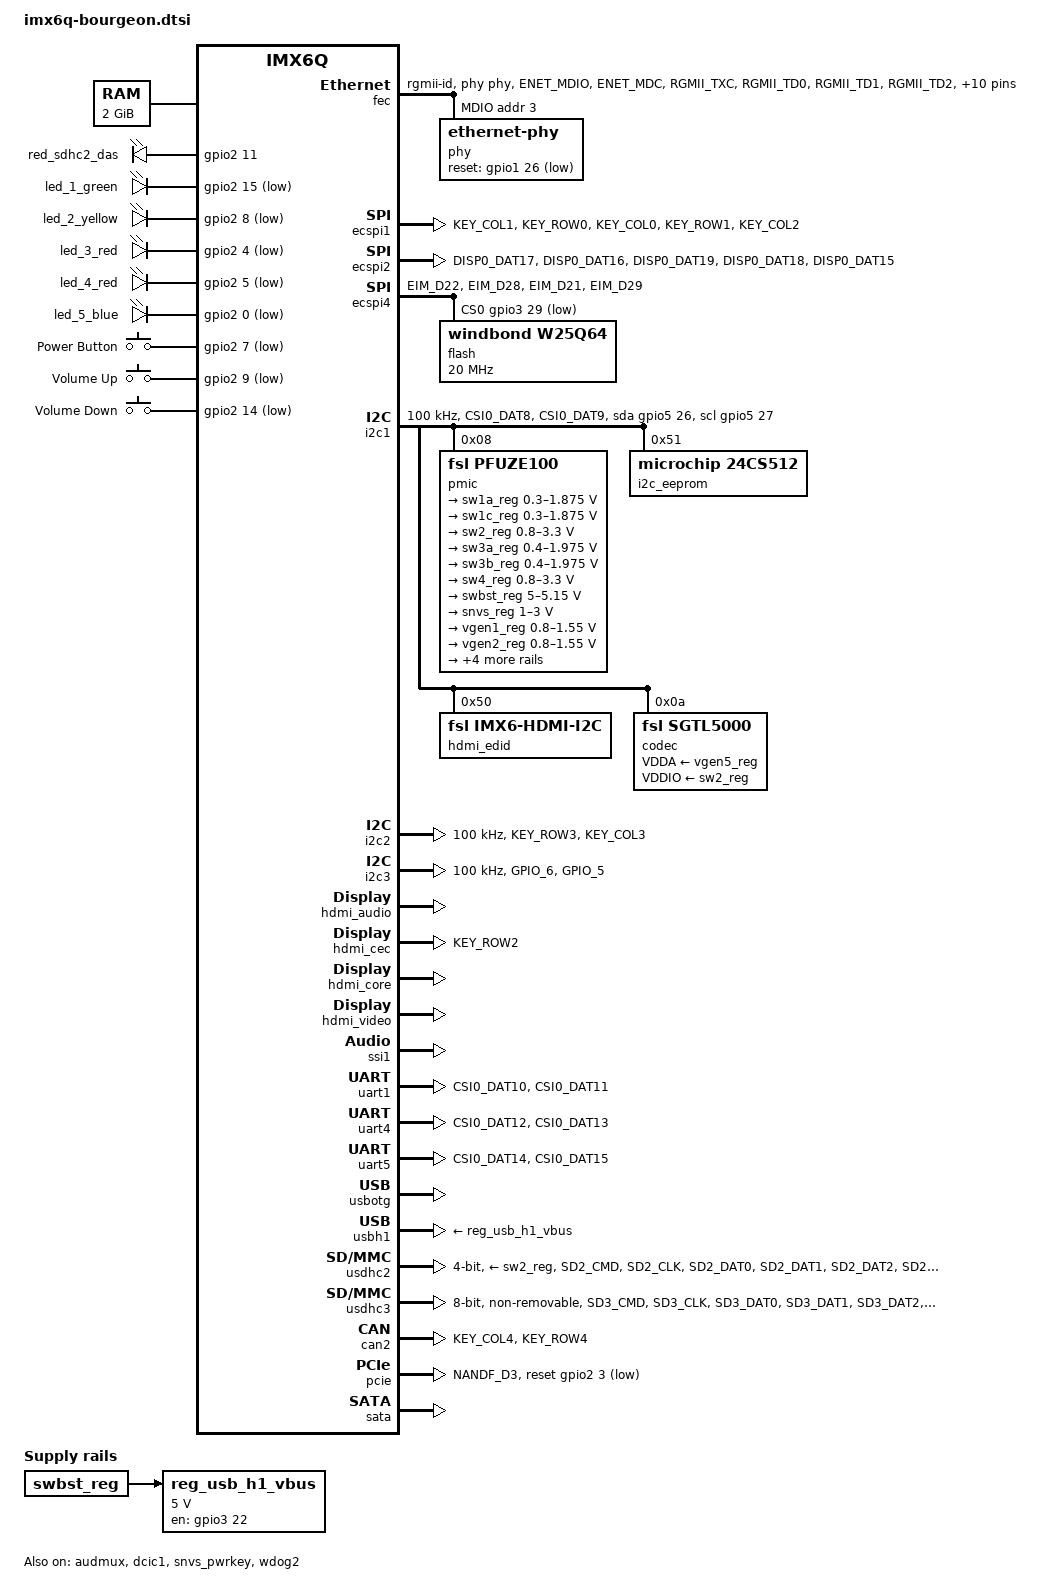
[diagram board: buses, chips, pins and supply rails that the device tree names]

#include <dt-bindings/clock/imx6qdl-clock.h>
#include <dt-bindings/gpio/gpio.h>
#include <dt-bindings/input/input.h>
#include <dt-bindings/net/ti-dp83869.h>
#include <dt-bindings/input/linux-event-codes.h>
#include <dt-bindings/interrupt-controller/irq.h>
#include <dt-bindings/leds/common.h>

/ {
	chosen {
		stdout-path = &uart1;
	};

	memory@10000000 {
		device_type = "memory";
		reg = <0x10000000 0x80000000>;
	};
	
	reg_usb_h1_vbus: regulator-usb-h1-vbus {
		compatible = "regulator-fixed";
		regulator-name = "usb_h1_vbus";
		regulator-min-microvolt = <5000000>;
		regulator-max-microvolt = <5000000>;
		gpio = <&gpio3 22 GPIO_ACTIVE_HIGH>;
		enable-active-high;
		vin-supply = <&swbst_reg>;
	};
	
	leds {
		compatible = "gpio-leds";
		pinctrl-names = "default";
		pinctrl-0 = <&pinctrl_gpio_leds>;

		red_sdhc2_das {
			gpios = <&gpio2 11 GPIO_ACTIVE_HIGH>;//LED DAS ushdc2
			default-state = "off";
		};
		led_1_green {
			gpios = <&gpio2 15 GPIO_ACTIVE_LOW>;//LED green 1
			linux,default-trigger = "heartbeat";
			default-state = "on";
		};
		led_2_yellow {
			gpios = <&gpio2 8 GPIO_ACTIVE_LOW>;//LED yellow 2
			linux,default-trigger = "disk-activity";
			trigger-sources = <&usdhc3>;
			default-state = "off";
		};
		led_3_red {
			gpios = <&gpio2 4 GPIO_ACTIVE_LOW>;//LED red 3
			default-state = "off";
		};
		led_4_red {
			gpios = <&gpio2 5 GPIO_ACTIVE_LOW>;//LED red 4
			default-state = "off";
		};
		led_5_blue {
			gpios = <&gpio2 0 GPIO_ACTIVE_LOW>;//LED bleue 5
			default-state = "off";
		};
	};
	
	gpio-keys {
		compatible = "gpio-keys";
		pinctrl-names = "default";
		pinctrl-0 = <&pinctrl_gpio_keys>;

		power {
			label = "Power Button";
			gpios = <&gpio2 7 GPIO_ACTIVE_LOW>;
			wakeup-source;
			linux,code = <KEY_POWER>;
		};

		volume-up {
			label = "Volume Up";
			gpios = <&gpio2 9 GPIO_ACTIVE_LOW>;
			wakeup-source;
			linux,code = <KEY_VOLUMEUP>;
		};

		volume-down {
			label = "Volume Down";
			gpios = <&gpio2 14 GPIO_ACTIVE_LOW>;
			wakeup-source;
			linux,code = <KEY_VOLUMEDOWN>;
		};
	};

	sound-hdmi {
		compatible = "fsl,imx6qdl-audio-hdmi";
		model = "imx-audio-hdmi";
		hdmi-controller = <&hdmi_audio>;
	};

	sound {
		compatible = "fsl,imx6-bourgeon-sgtl5000",
			     "fsl,imx-audio-sgtl5000";
		model = "imx6-bourgeon-sgtl5000";
		ssi-controller = <&ssi1>;
		audio-codec = <&codec>;
		audio-routing =
			"MIC_IN", "Mic Jack",
			"Mic Jack", "Mic Bias",
			"Headphone Jack", "HP_OUT";
		mux-int-port = <1>;
		mux-ext-port = <4>;
	};
};

&fec {
	pinctrl-names = "default";
	pinctrl-0 = <&pinctrl_enet>;
	phy-mode = "rgmii-id";
	phy-handle = <&phy>;
	fsl,magic-packet;
	status = "okay";

	mdio {
		#address-cells = <1>;
		#size-cells = <0>;

		phy: ethernet-phy@3 {
			reg = <3>;
			qca,clk-out-frequency = <125000000>;
			reset-gpios = <&gpio1 26 GPIO_ACTIVE_LOW>;
			reset-assert-us = <10000>;
		};
	};
};

&audmux {
	pinctrl-names = "default";
	pinctrl-0 = <&pinctrl_audmux>;
	status = "okay";
};

&clks {
	assigned-clocks = <&clks IMX6QDL_CLK_LDB_DI0_SEL>,
			  <&clks IMX6QDL_CLK_LDB_DI1_SEL>;
	assigned-clock-parents = <&clks IMX6QDL_CLK_PLL3_USB_OTG>,
				 <&clks IMX6QDL_CLK_PLL3_USB_OTG>;
};

&dcic1 {
	dcic_id = <0>;
	dcic_mux = "dcic-hdmi";
	status = "okay";
};

&ecspi1 {
	cs-gpios = <&gpio4 9 GPIO_ACTIVE_LOW>, <&gpio4 10 GPIO_ACTIVE_LOW>;
	pinctrl-names = "default";
	pinctrl-0 = <&pinctrl_ecspi1>;
	status = "okay";
};

&ecspi2 {
	cs-gpios = <&gpio5 12 GPIO_ACTIVE_LOW>, <&gpio5 9 GPIO_ACTIVE_LOW>;
	pinctrl-names = "default";
	pinctrl-0 = <&pinctrl_ecspi2>;
	status = "okay";
};

&ecspi4 {
	cs-gpios = <&gpio3 29 GPIO_ACTIVE_LOW>;
	pinctrl-names = "default";
	pinctrl-0 = <&pinctrl_ecspi4>;
	status = "okay";
	
	flash: flash_512Mb@0 {//modifier la taille !!!!!!!!!!!
		#address-cells = <1>;
		#size-cells = <1>;
		compatible = "windbond, w25q64", "jedec,spi-nor";
		spi-max-frequency = <20000000>;
		reg = <0>;
	};
};

&i2c1 {
	clock-frequency = <100000>;
	pinctrl-names = "default", "gpio";
	pinctrl-0 = <&pinctrl_i2c1>;
	pinctrl-1 = <&pinctrl_i2c1_gpio>;
	scl-gpios = <&gpio5 27 GPIO_ACTIVE_HIGH>;
	sda-gpios = <&gpio5 26 GPIO_ACTIVE_HIGH>;
	status = "okay";

	pmic: pfuze100@8 {
		compatible = "fsl,pfuze100";
		reg = <0x08>;

		regulators {
			sw1a_reg: sw1ab {
				regulator-min-microvolt = <300000>;
				regulator-max-microvolt = <1875000>;
				regulator-boot-on;
				regulator-always-on;
				regulator-ramp-delay = <6250>;
			};

			sw1c_reg: sw1c {
				regulator-min-microvolt = <300000>;
				regulator-max-microvolt = <1875000>;
				regulator-boot-on;
				regulator-always-on;
				regulator-ramp-delay = <6250>;
			};

			sw2_reg: sw2 {
				regulator-min-microvolt = <800000>;
				regulator-max-microvolt = <3300000>;
				regulator-boot-on;
				regulator-always-on;
				regulator-ramp-delay = <6250>;
			};

			sw3a_reg: sw3a {
				regulator-min-microvolt = <400000>;
				regulator-max-microvolt = <1975000>;
				regulator-boot-on;
				regulator-always-on;
			};

			sw3b_reg: sw3b {
				regulator-min-microvolt = <400000>;
				regulator-max-microvolt = <1975000>;
				regulator-boot-on;
				regulator-always-on;
			};

			sw4_reg: sw4 {
				regulator-min-microvolt = <800000>;
				regulator-max-microvolt = <3300000>;
				regulator-always-on;
			};
			
			swbst_reg: swbst {
				regulator-min-microvolt = <5000000>;
				regulator-max-microvolt = <5150000>;
			};

			snvs_reg: vsnvs {
				regulator-min-microvolt = <1000000>;
				regulator-max-microvolt = <3000000>;
				regulator-boot-on;
				regulator-always-on;
			};

			vref_reg: vrefddr {
				regulator-boot-on;
				regulator-always-on;
			};

			vgen1_reg: vgen1 {
				regulator-min-microvolt = <800000>;
				regulator-max-microvolt = <1550000>;
			};

			vgen2_reg: vgen2 {
				regulator-min-microvolt = <800000>;
				regulator-max-microvolt = <1550000>;
				regulator-always-on;
			};

			vgen3_reg: vgen3 {
				regulator-min-microvolt = <1800000>;
				regulator-max-microvolt = <3300000>;
				regulator-always-on;
			};

			vgen4_reg: vgen4 {
				regulator-min-microvolt = <1800000>;
				regulator-max-microvolt = <3300000>;
				regulator-always-on;
			};

			vgen5_reg: vgen5 {
				regulator-min-microvolt = <1800000>;
				regulator-max-microvolt = <3300000>;
				regulator-always-on;
			};

			vgen6_reg: vgen6 {
				regulator-min-microvolt = <1800000>;
				regulator-max-microvolt = <3300000>;
				regulator-always-on;
			};
		};
	};

	i2c_eeprom: i2c_eeprom@51 {
		compatible = "microchip, 24cs512";// support de la première partie uniquement
		reg = <0x51>;
		pagesize = <128>;
	};

	hdmi_edid: edid@50 {
		compatible = "fsl,imx6-hdmi-i2c";
		reg = <0x50>;
	};

	codec: sgtl5000@a {
		pinctrl-names = "default";
		pinctrl-0 = <&pinctrl_mclk>;
		compatible = "fsl,sgtl5000";
		reg = <0x0a>;
		clocks = <&clks IMX6QDL_CLK_CKO>;
		VDDA-supply = <&vgen5_reg>;
		VDDIO-supply = <&sw2_reg>;
		lrclk-strength = <3>;
	};
};

&i2c2 {
	clock-frequency = <100000>;
	pinctrl-names = "default";
	pinctrl-0 = <&pinctrl_i2c2>;
	status = "okay";
};

&i2c3 {
	clock-frequency = <100000>;
	pinctrl-names = "default";
	pinctrl-0 = <&pinctrl_i2c3>;
	status = "okay";
};

&iomuxc {
	pinctrl-names = "default";
	pinctrl-0 = <&pinctrl_hog>;
	imx6q-bourgeon {

		pinctrl_hog: hoggrp {
			fsl,pins = <
				MX6QDL_PAD_ENET_RXD1__GPIO1_IO26	0x1b0b0 //reset pin ENET
				MX6QDL_PAD_GPIO_4__GPIO1_IO04 	0x1b0b0 /*CD SHDC2*/
				MX6QDL_PAD_SD3_RST__GPIO7_IO08	0x1b0b0 //RESET pin SDHC3
			>;
		};
		
		pinctrl_ecspi1: ecspi1grp {
			fsl,pins = <
				MX6QDL_PAD_KEY_COL1__ECSPI1_MISO	0x100b1
				MX6QDL_PAD_KEY_ROW0__ECSPI1_MOSI	0x100b1
				MX6QDL_PAD_KEY_COL0__ECSPI1_SCLK	0x100b1
				MX6QDL_PAD_KEY_ROW1__GPIO4_IO09	0x1b0b0//CS 0
				MX6QDL_PAD_KEY_COL2__GPIO4_IO10	0x1b0b0//CS 1
			>;
		};
		
		pinctrl_ecspi2: ecspi2grp {
			fsl,pins = <
				MX6QDL_PAD_DISP0_DAT17__ECSPI2_MISO	0x100b1
				MX6QDL_PAD_DISP0_DAT16__ECSPI2_MOSI	0x100b1
				MX6QDL_PAD_DISP0_DAT19__ECSPI2_SCLK	0x100b1
				MX6QDL_PAD_DISP0_DAT18__GPIO5_IO12		0x1b0b0//CS 0
				MX6QDL_PAD_DISP0_DAT15__GPIO5_IO09		0x1b0b0//CS 1
			>;
		};
		
		pinctrl_ecspi4: ecspi4grp {
			fsl,pins = <
				MX6QDL_PAD_EIM_D22__ECSPI4_MISO	0x100b1
				MX6QDL_PAD_EIM_D28__ECSPI4_MOSI	0x100b1
				MX6QDL_PAD_EIM_D21__ECSPI4_SCLK	0x100b1
				MX6QDL_PAD_EIM_D29__GPIO3_IO29	0x1b0b0//CS 0
			>;
		};
		
		pinctrl_gpio_keys: gpio_keysgrp {
			fsl,pins = <
				MX6QDL_PAD_NANDF_D7__GPIO2_IO07	0x1b0b0
				MX6QDL_PAD_SD4_DAT1__GPIO2_IO09	0x1b0b0
				MX6QDL_PAD_SD4_DAT6__GPIO2_IO14	0x1b0b0
			>;
		};
		
		pinctrl_i2c1: i2c1grp {
			fsl,pins = <
				MX6QDL_PAD_CSI0_DAT8__I2C1_SDA	0x4001b8b1
				MX6QDL_PAD_CSI0_DAT9__I2C1_SCL	0x4001b8b1
			>;
		};

		pinctrl_i2c1_gpio: i2c1_gpio_grp {
			fsl,pins = <
				MX6QDL_PAD_CSI0_DAT8__GPIO5_IO26	0x1b0b0
				MX6QDL_PAD_CSI0_DAT9__GPIO5_IO27	0x1b8b0
			>;
		};

		pinctrl_i2c2: i2c2grp {
			fsl,pins = <
				MX6QDL_PAD_KEY_ROW3__I2C2_SDA 	0x4001b8b1	
				MX6QDL_PAD_KEY_COL3__I2C2_SCL 	0x4001b8b1	
			>;
		};

		pinctrl_i2c3: i2c3grp {
			fsl,pins = <
				MX6QDL_PAD_GPIO_6__I2C3_SDA		0x4001b8b1
				MX6QDL_PAD_GPIO_5__I2C3_SCL		0x4001b8b1
			>;
		};
		
		pinctrl_enet: enetgrp {
			fsl,pins = <
				MX6QDL_PAD_ENET_MDIO__ENET_MDIO		0x1b0b0
				MX6QDL_PAD_ENET_MDC__ENET_MDC		0x1b0b0
				MX6QDL_PAD_RGMII_TXC__RGMII_TXC		0x1b030
				MX6QDL_PAD_RGMII_TD0__RGMII_TD0		0x1b030
				MX6QDL_PAD_RGMII_TD1__RGMII_TD1		0x1b030
				MX6QDL_PAD_RGMII_TD2__RGMII_TD2		0x1b030
				MX6QDL_PAD_RGMII_TD3__RGMII_TD3		0x1b030
				MX6QDL_PAD_RGMII_TX_CTL__RGMII_TX_CTL	0x1b030
				MX6QDL_PAD_ENET_REF_CLK__ENET_TX_CLK	0x1b0b0
				MX6QDL_PAD_RGMII_RXC__RGMII_RXC		0x1b030
				MX6QDL_PAD_RGMII_RD0__RGMII_RD0		0x1b030
				MX6QDL_PAD_RGMII_RD1__RGMII_RD1		0x1b030
				MX6QDL_PAD_RGMII_RD2__RGMII_RD2		0x1b030
				MX6QDL_PAD_RGMII_RD3__RGMII_RD3		0x1b030
				MX6QDL_PAD_RGMII_RX_CTL__RGMII_RX_CTL	0x1b030
				MX6QDL_PAD_GPIO_16__ENET_REF_CLK		0x4001b0a8
				
			>;
		};
		
		pinctrl_flexcan2: flexcan2grp {
			fsl,pins = <
				MX6QDL_PAD_KEY_COL4__FLEXCAN2_TX	0x17059
				MX6QDL_PAD_KEY_ROW4__FLEXCAN2_RX	0x17059
			>;
		};

		pinctrl_uart1: uart1grp {
			fsl,pins = <
				MX6QDL_PAD_CSI0_DAT10__UART1_TX_DATA	0x1b0b1
				MX6QDL_PAD_CSI0_DAT11__UART1_RX_DATA	0x1b0b1
			>;
		};
		
		pinctrl_uart4: uart4grp {
			fsl,pins = <
				MX6QDL_PAD_CSI0_DAT12__UART4_TX_DATA	0x1b0b1
				MX6QDL_PAD_CSI0_DAT13__UART4_RX_DATA	0x1b0b1
			>;
		};

		pinctrl_uart5: uart5grp {
			fsl,pins = <
				MX6QDL_PAD_CSI0_DAT14__UART5_TX_DATA	0x1b0b1
				MX6QDL_PAD_CSI0_DAT15__UART5_RX_DATA	0x1b0b1
			>;
		};
		
		pinctrl_usdhc2: usdhc2grp {
			fsl,pins = <
				MX6QDL_PAD_SD2_CMD__SD2_CMD		0x17059
				MX6QDL_PAD_SD2_CLK__SD2_CLK		0x10059
				MX6QDL_PAD_SD2_DAT0__SD2_DATA0	0x17059
				MX6QDL_PAD_SD2_DAT1__SD2_DATA1	0x17059
				MX6QDL_PAD_SD2_DAT2__SD2_DATA2	0x17059
				MX6QDL_PAD_SD2_DAT3__SD2_DATA3	0x17059
				
			>;
		};
		
		pinctrl_usdhc3: usdhc3grp {
			fsl,pins = <
				MX6QDL_PAD_SD3_CMD__SD3_CMD		0x17059
				MX6QDL_PAD_SD3_CLK__SD3_CLK		0x10059
				MX6QDL_PAD_SD3_DAT0__SD3_DATA0		0x17059
				MX6QDL_PAD_SD3_DAT1__SD3_DATA1		0x17059
				MX6QDL_PAD_SD3_DAT2__SD3_DATA2		0x17059
				MX6QDL_PAD_SD3_DAT3__SD3_DATA3		0x17059
				MX6QDL_PAD_SD3_DAT4__SD3_DATA4		0x17059
				MX6QDL_PAD_SD3_DAT5__SD3_DATA5		0x17059
				MX6QDL_PAD_SD3_DAT6__SD3_DATA6		0x17059
				MX6QDL_PAD_SD3_DAT7__SD3_DATA7		0x17059
			>;
		};

		pinctrl_hdmi_cec: hdmicecgrp {
			fsl,pins = <
				MX6QDL_PAD_KEY_ROW2__HDMI_TX_CEC_LINE 0x108b0
			>;
		};
		
		pinctrl_pcie: pciegrp {
			fsl,pins = <
				MX6QDL_PAD_NANDF_D3__GPIO2_IO03	0x1b0b0 //reset
			>;
		};

		pinctrl_wdog: wdoggrp {
			fsl,pins = <
				MX6QDL_PAD_GPIO_1__WDOG2_B		0x1b0b0
			>;
		};
	};
	
	gpio_leds {
		pinctrl_gpio_leds: gpioledsgrp {
			fsl,pins = <
				MX6QDL_PAD_SD4_DAT3__GPIO2_IO11 0x1b0b0 //LED DAS shdc2
				MX6QDL_PAD_SD4_DAT7__GPIO2_IO15 0x1b0b0 //led green 1 NOTE : mettre en drain ouvert
				MX6QDL_PAD_SD4_DAT0__GPIO2_IO08 0x1b0b0 //led yellow 2
				MX6QDL_PAD_NANDF_D4__GPIO2_IO04 0x1b0b0 //led red 3
				MX6QDL_PAD_NANDF_D5__GPIO2_IO05 0x1b0b0 //led red 4
				MX6QDL_PAD_NANDF_D0__GPIO2_IO00 0x1b0b0 //led bleue 5
			>;
		};
	};

	pinctrl_mclk: mclkgrp {
		fsl,pins = <
		MX6QDL_PAD_GPIO_0__CCM_CLKO1	0x130b0
		>;
	};

	pinctrl_audmux: audmuxgrp {
			fsl,pins = <
				MX6QDL_PAD_DISP0_DAT21__AUD4_TXD		0x110b0
				MX6QDL_PAD_DISP0_DAT22__AUD4_TXFS		0x130b0
				MX6QDL_PAD_DISP0_DAT20__AUD4_TXC		0x130b0
				MX6QDL_PAD_DISP0_DAT23__AUD4_RXD		0x130b0
			>;
	};
};

&reg_arm {
       vin-supply = <&sw1a_reg>;
};

&reg_pu {
       vin-supply = <&sw1c_reg>;
};

&reg_soc {
       vin-supply = <&sw1c_reg>;
};

&reg_vdd1p1 {
	vin-supply = <&vgen6_reg>;
};

&reg_vdd2p5 {
	vin-supply = <&vgen6_reg>;
};

&snvs_poweroff {
	status = "okay";
};

/*
&gpc {
	fsl,ldo-bypass = <1>;
};*/

&hdmi_audio {
	status = "okay";
};

&hdmi_cec {
	pinctrl-names = "default";
	pinctrl-0 = <&pinctrl_hdmi_cec>;
	status = "okay";
};

&hdmi_core {
	ipu_id = <0>;
	disp_id = <0>;
	status = "okay";
};

&hdmi_video {
	fsl,phy_reg_vlev = <0x294>;
	fsl,phy_reg_cksymtx = <0x800d>;
/*	HDMI-supply = <&reg_hdmi>; */
	status = "okay";
};

&snvs_pwrkey {
	status = "okay";
};


&ssi1 {
	status = "okay";
};

&uart1 {
	pinctrl-names = "default";
	pinctrl-0 = <&pinctrl_uart1>;
	status = "okay";
};

&uart4 {
	pinctrl-names = "default";
	pinctrl-0 = <&pinctrl_uart4>;
	status = "okay";
};

&uart5 {
	pinctrl-names = "default";
	pinctrl-0 = <&pinctrl_uart5>;
	status = "okay";
};

&usbotg {
	pinctrl-names = "default";
	disable-over-current;
	status = "okay";
};

&usbh1 {
	vbus-supply = <&reg_usb_h1_vbus>;
	status = "okay";
};

&usdhc2 {
	pinctrl-names = "default";
	pinctrl-0 = <&pinctrl_usdhc2>;
	bus-width = <4>;
	cd-gpios = <&gpio1 4 GPIO_ACTIVE_LOW>;
	vmmc-supply = <&sw2_reg>;
	status = "okay";
};

&usdhc3 {
	pinctrl-names = "default";
	pinctrl-0 = <&pinctrl_usdhc3>;
	bus-width = <8>;
	//cd-gpios = <&gpio2 0 GPIO_ACTIVE_LOW>; //No card detect on schematic
	//wp-gpios = <&gpio2 1 GPIO_ACTIVE_HIGH>; //No write protection on schematic
	non-removable;
	status = "okay";
};

&can2 {
	pinctrl-names = "default";
	pinctrl-0 = <&pinctrl_flexcan2>;
	status = "okay";
};

&pcie {
	pinctrl-names = "default";
	pinctrl-0 = <&pinctrl_pcie>;
	reset-gpio = <&gpio2 3 GPIO_ACTIVE_LOW>;
	status = "okay";
};

&sata {
	status = "okay";
};

&wdog1 {
	status = "disabled";
};

&wdog2 {
	pinctrl-names = "default";
	pinctrl-0 = <&pinctrl_wdog>;
	fsl,ext-reset-output;
	status = "okay";
};

